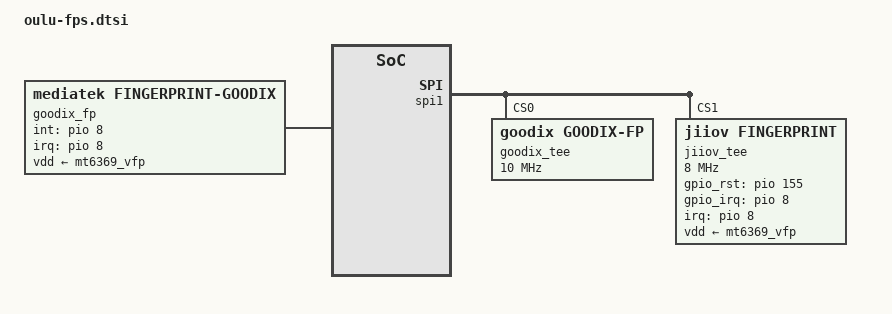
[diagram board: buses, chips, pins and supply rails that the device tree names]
// SPDX-License-Identifier: GPL-2.0
//
// Copyright (c) 2023 Motorola Inc.
&pio {

	fingerfp_rst_high: fingerfp_rst_high {
		pins_cmd_dat {
			pinmux = <PINMUX_GPIO155__FUNC_GPIO155>;
			slew-rate = <1>;
			output-high;
		};
	};

	fingerfp_rst_low: fingerfp_rst_low {
		pins_cmd_dat {
			pinmux = <PINMUX_GPIO155__FUNC_GPIO155>;
			slew-rate = <1>;
			output-low;
		};
	};

	fingerfp_irq_active: fingerfp_irq_active {
		pins_cmd_dat {
			pinmux = <PINMUX_GPIO8__FUNC_GPIO8>;
			slew-rate = <0>;
			bias-disable;
		};
	};

	fingerfp_spi_active: fingerfp_spi_active {
		pins_cmd_dat {
			pinmux = <PINMUX_GPIO63__FUNC_SPI1_MI>, <PINMUX_GPIO61__FUNC_SPI1_CSB>, <PINMUX_GPIO62__FUNC_SPI1_MO>, <PINMUX_GPIO60__FUNC_SPI1_CLK>;
			drive-strength = <2>;
		};
	};

	fingerfp_spi_default: fingerfp_spi_default {
		pins_cmd_dat {
			pinmux = <PINMUX_GPIO63__FUNC_GPIO63>, <PINMUX_GPIO61__FUNC_GPIO61>, <PINMUX_GPIO62__FUNC_GPIO62>, <PINMUX_GPIO60__FUNC_GPIO60>;
			slew-rate = <1>;
			output-low;
		};
	};
	jiiov_fp_reset_output_low: jiiov_fp_reset_output_low {
		pins_cmd_dat {
		    pinmux = <PINMUX_GPIO155__FUNC_GPIO155>;
		    slew-rate = <1>;
		    output-low;
		};
	};

	jiiov_fp_reset_output_high: jiiov_fp_reset_output_high {
		pins_cmd_dat {
		    pinmux = <PINMUX_GPIO155__FUNC_GPIO155>;
		    slew-rate = <1>;
		    output-high;
		};
	};

	jiiov_fp_irq_default: jiiov_fp_irq_default {
		pins_cmd_dat {
		    pinmux = <PINMUX_GPIO8__FUNC_GPIO8>;
		    slew-rate = <0>;
		    bias-disable;
		};
	};

	jiiov_fp_spi_active: jiiov_fp_spi_active {
		pins_cmd_dat {
			pinmux = <PINMUX_GPIO63__FUNC_SPI1_MI>, <PINMUX_GPIO61__FUNC_SPI1_CSB>, <PINMUX_GPIO62__FUNC_SPI1_MO>, <PINMUX_GPIO60__FUNC_SPI1_CLK>;
			slew-rate = <0>;
			bias-disable;
		};
	};
};

// SPI node start
&spi1 {
	status = "okay";
	tee-only;
	mediatek,pad-select =  <0>, <1>;
	goodix_tee@0 {
		status = "okay";
		compatible = "goodix,goodix-fp";
		reg = <0>;
		spi-max-frequency = <10000000>;
		netlink-event = <30>;
	};

	jiiov_tee@1 {
		status = "okay";
		compatible = "jiiov,fingerprint","mediatec,fingerprint-jiiov";
		reg = <1>;
		spi-max-frequency = <8000000>;
		netlink-event = <30>;
		interrupt-parent = <&pio>;
		interrupts = <8 IRQ_TYPE_EDGE_RISING 8 0>;
		anc,gpio_rst = <&pio 155 0x00>;
		anc,gpio_irq = <&pio 8 0x00>;
		anc,enable-on-boot;
		// anc,vdd_use_gpio;
		// anc,gpio_pwr = <&pio 51 0x0>;
		anc,vdd_use_pmic;
		//mt6369_vfp
		vdd-supply = <&mt6369_vfp>;
		anc,vdd_config = <3300000 3300000 150000>;
		pinctrl-names = "anc_reset_low", "anc_reset_high", "anc_irq_default";
		pinctrl-0 = <&jiiov_fp_reset_output_low>;
		pinctrl-1 = <&jiiov_fp_reset_output_high>, <&jiiov_fp_spi_active>;
		pinctrl-2 = <&jiiov_fp_irq_default>;
	};
};
&odm {
	goodix_fp:goodix_fp{
		compatible = "mediatek,fingerprint-goodix";
		interrupt-parent = <&pio>;

		interrupts = <8 IRQ_TYPE_EDGE_RISING 8 0>;
		pinctrl-names = "fingerprint_irq", "fingerprint_reset_high", "fingerprint_reset_low";
		pinctrl-0 = <&fingerfp_irq_active>;
		pinctrl-1 = <&fingerfp_rst_high>;
		pinctrl-2 = <&fingerfp_rst_low>;
		int-gpios = <&pio 8 0>;
		rgltr-ctrl-support;
		fp,vdd-supply = <&mt6369_vfp>;	// ldo for support module vcc
		fp,voltage-range = <3300000 3300000>;	// ldo voltage default 3.3V
		fp,vdd-current = <100000>;
		status = "okay";
	};
};


